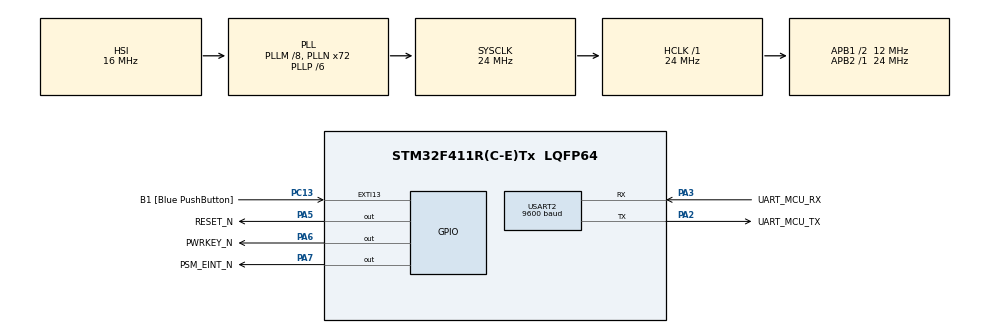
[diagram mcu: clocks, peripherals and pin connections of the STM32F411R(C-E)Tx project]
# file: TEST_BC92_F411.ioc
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Dma.Request0=USART2_TX
Dma.Request1=USART2_RX
Dma.USART2_RX.1.Direction=DMA_PERIPH_TO_MEMORY
Dma.USART2_RX.1.FIFOMode=DMA_FIFOMODE_DISABLE
Dma.USART2_RX.1.Instance=DMA1_Stream5
Dma.USART2_RX.1.MemDataAlignment=DMA_MDATAALIGN_BYTE
Dma.USART2_RX.1.MemInc=DMA_MINC_ENABLE
Dma.USART2_RX.1.Mode=DMA_CIRCULAR
Dma.USART2_RX.1.PeriphDataAlignment=DMA_PDATAALIGN_BYTE
Dma.USART2_RX.1.PeriphInc=DMA_PINC_DISABLE
Dma.USART2_RX.1.Priority=DMA_PRIORITY_LOW
Dma.USART2_TX.0.Direction=DMA_MEMORY_TO_PERIPH
Dma.USART2_TX.0.FIFOMode=DMA_FIFOMODE_DISABLE
Dma.USART2_TX.0.Instance=DMA1_Stream6
Dma.USART2_TX.0.MemDataAlignment=DMA_MDATAALIGN_BYTE
Dma.USART2_TX.0.MemInc=DMA_MINC_ENABLE
Dma.USART2_TX.0.Mode=DMA_NORMAL
Dma.USART2_TX.0.PeriphDataAlignment=DMA_PDATAALIGN_BYTE
Dma.USART2_TX.0.PeriphInc=DMA_PINC_DISABLE
Dma.USART2_TX.0.Priority=DMA_PRIORITY_LOW
FREERTOS.Tasks01=defaultTask,24,128,StartDefaultTask,Default,NULL,Dynamic,NULL,NULL
FREERTOS.configUSE_NEWLIB_REENTRANT=1
Mcu.Family=STM32F4
Mcu.Name=STM32F411R(C-E)Tx
Mcu.Package=LQFP64
NVIC.DMA1_Stream5_IRQn=true\:5\:0\:false\:false\:true\:true\:false\:true
NVIC.DMA1_Stream6_IRQn=true\:5\:0\:false\:false\:true\:true\:false\:true
NVIC.PriorityGroup=NVIC_PRIORITYGROUP_4
NVIC.TIM1_TRG_COM_TIM11_IRQn=true\:15\:0\:false\:false\:true\:false\:false\:true
NVIC.TimeBase=TIM1_TRG_COM_TIM11_IRQn
NVIC.TimeBaseIP=TIM11
NVIC.USART2_IRQn=true\:5\:0\:false\:false\:true\:true\:true\:true
PA13.GPIO_Label=TMS
PA13.Mode=Serial_Wire
PA13.Signal=SYS_JTMS-SWDIO
PA14.GPIO_Label=TCK
PA14.Mode=Serial_Wire
PA14.Signal=SYS_JTCK-SWCLK
PA2.GPIO_Label=UART_MCU_TX
PA2.Mode=Asynchronous
PA2.Signal=USART2_TX
PA3.GPIO_Label=UART_MCU_RX
PA3.Mode=Asynchronous
PA3.Signal=USART2_RX
PA5.GPIO_Label=RESET_N
PA5.PinState=GPIO_PIN_RESET
PA5.Signal=GPIO_Output
PA6.GPIO_Label=PWRKEY_N
PA6.PinState=GPIO_PIN_RESET
PA6.Signal=GPIO_Output
PA7.GPIO_Label=PSM_EINT_N
PA7.Signal=GPIO_Output
PB3.GPIO_Label=SWO
PB3.Signal=SYS_JTDO-SWO
PC13-ANTI_TAMP.GPIO_Label=B1 [Blue PushButton]
PC13-ANTI_TAMP.GPIO_ModeDefaultEXTI=GPIO_MODE_IT_FALLING
PC13-ANTI_TAMP.Signal=GPXTI13
PC14-OSC32_IN.Mode=LSE-External-Oscillator
PC14-OSC32_IN.Signal=RCC_OSC32_IN
PC15-OSC32_OUT.Mode=LSE-External-Oscillator
PC15-OSC32_OUT.Signal=RCC_OSC32_OUT
PH0\ -\ OSC_IN.Mode=HSE-External-Clock-Source
PH0\ -\ OSC_IN.Signal=RCC_OSC_IN
PH1\ -\ OSC_OUT.Mode=HSE-External-Clock-Source
PH1\ -\ OSC_OUT.Signal=RCC_OSC_OUT
ProjectManager.HeapSize=0x200
ProjectManager.StackSize=0x400
ProjectManager.TargetToolchain=STM32CubeIDE
RCC.48MHZClocksFreq_Value=36000000
RCC.AHBFreq_Value=24000000
RCC.APB1CLKDivider=RCC_HCLK_DIV2
RCC.APB1Freq_Value=12000000
RCC.APB1TimFreq_Value=24000000
RCC.APB2Freq_Value=24000000
RCC.APB2TimFreq_Value=24000000
RCC.CortexFreq_Value=24000000
RCC.FLatency-AdvancedSettings=FLASH_LATENCY_0
RCC.HCLKFreq_Value=24000000
RCC.HSE_VALUE=8000000
RCC.HSI_VALUE=16000000
RCC.PLLM=8
RCC.PLLN=72
RCC.PLLP=RCC_PLLP_DIV6
RCC.SYSCLKFreq_VALUE=24000000
RCC.SYSCLKSource=RCC_SYSCLKSOURCE_PLLCLK
RCC.VCOOutputFreq_Value=144000000
USART2.BaudRate=9600
USART2.VirtualMode=VM_ASYNC
VP_FREERTOS_VS_CMSIS_V2.Mode=CMSIS_V2
VP_SYS_VS_tim11.Mode=TIM11
board=NUCLEO-F411RE

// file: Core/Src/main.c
/* USER CODE BEGIN Header */
/**
  ******************************************************************************
  * @file           : main.c
  * @brief          : Main program body
  ******************************************************************************
  * @attention
  *
  * <h2><center>&copy; Copyright (c) 2021 STMicroelectronics.
  * All rights reserved.</center></h2>
  *
  * This software component is licensed by ST under BSD 3-Clause license,
  * the "License"; You may not use this file except in compliance with the
  * License. You may obtain a copy of the License at:
  *                        opensource.org/licenses/BSD-3-Clause
  *
  ******************************************************************************
  */
/* USER CODE END Header */
#include "main.h"
#include "cmsis_os.h"

/* USER CODE BEGIN Includes */
#include "OS_MainTask.h"
/* USER CODE END Includes */

UART_HandleTypeDef huart2;
DMA_HandleTypeDef hdma_usart2_tx;
DMA_HandleTypeDef hdma_usart2_rx;

/* Definitions for defaultTask */
osThreadId_t defaultTaskHandle;
const osThreadAttr_t defaultTask_attributes = {
  .name = "defaultTask",
  .stack_size = 128 * 4,
  .priority = (osPriority_t) osPriorityNormal,
};
/* USER CODE BEGIN PV */

/* Definitions for OS_MainQueue */
osMessageQueueId_t OS_MainQueueHandle;
const osMessageQueueAttr_t OS_MainQueue_attributes = {
  .name = "OS_MainQueue"
};

/* Definitions for OS_MainTask */
osThreadId_t OS_MainTaskHandle;
const osThreadAttr_t OS_MainTask_attributes = {
  .name = "OS_MainTask",
  .priority = (osPriority_t) osPriorityNormal,
  .stack_size = 512 * 4
};

/* USER CODE END PV */

void SystemClock_Config(void);
static void MX_GPIO_Init(void);
static void MX_DMA_Init(void);
static void MX_USART2_UART_Init(void);
void StartDefaultTask(void *argument);

int main(void)
{

  /* MCU Configuration--------------------------------------------------------*/

  /* Reset of all peripherals, Initializes the Flash interface and the Systick. */
  HAL_Init();

  /* Configure the system clock */
  SystemClock_Config();

  /* Initialize all configured peripherals */
  MX_GPIO_Init();
  MX_DMA_Init();
  MX_USART2_UART_Init();

  /* Init scheduler */
  osKernelInitialize();

  /* USER CODE BEGIN RTOS_QUEUES */
  /* add queues, ... */
  OS_MainQueueHandle = osMessageQueueNew (16, sizeof(osQItem_t), &OS_MainQueue_attributes);
  /* USER CODE END RTOS_QUEUES */

  /* Create the thread(s) */
  /* creation of defaultTask */
  defaultTaskHandle = osThreadNew(StartDefaultTask, NULL, &defaultTask_attributes);

  /* USER CODE BEGIN RTOS_THREADS */
  /* add threads, ... */
  if( (OS_MainTaskHandle = osThreadNew(OS_MainTask, NULL, &OS_MainTask_attributes)) )
  {
	  printf("\nOS_MainTaskHandle has been successfully initialized!\n");
	  osKernelStart();
  }
  else
  {
	  printf("\nERROR: OS_MainTask creation failed!\n");
  }
  /* USER CODE END RTOS_THREADS */

  /* Start scheduler */
  osKernelStart();

  /* We should never get here as control is now taken by the scheduler */
  /* Infinite loop */
  while (1)
  {

  }
}

void SystemClock_Config(void)
{
  RCC_OscInitTypeDef RCC_OscInitStruct = {0};
  RCC_ClkInitTypeDef RCC_ClkInitStruct = {0};

  /** Configure the main internal regulator output voltage
  */
  __HAL_RCC_PWR_CLK_ENABLE();
  __HAL_PWR_VOLTAGESCALING_CONFIG(PWR_REGULATOR_VOLTAGE_SCALE1);
  /** Initializes the RCC Oscillators according to the specified parameters
  * in the RCC_OscInitTypeDef structure.
  */
  RCC_OscInitStruct.OscillatorType = RCC_OSCILLATORTYPE_HSI;
  RCC_OscInitStruct.HSIState = RCC_HSI_ON;
  RCC_OscInitStruct.HSICalibrationValue = RCC_HSICALIBRATION_DEFAULT;
  RCC_OscInitStruct.PLL.PLLState = RCC_PLL_ON;
  RCC_OscInitStruct.PLL.PLLSource = RCC_PLLSOURCE_HSI;
  RCC_OscInitStruct.PLL.PLLM = 8;
  RCC_OscInitStruct.PLL.PLLN = 72;
  RCC_OscInitStruct.PLL.PLLP = RCC_PLLP_DIV6;
  RCC_OscInitStruct.PLL.PLLQ = 4;
  if (HAL_RCC_OscConfig(&RCC_OscInitStruct) != HAL_OK)
  {
    Error_Handler();
  }
  /** Initializes the CPU, AHB and APB buses clocks
  */
  RCC_ClkInitStruct.ClockType = RCC_CLOCKTYPE_HCLK|RCC_CLOCKTYPE_SYSCLK
                              |RCC_CLOCKTYPE_PCLK1|RCC_CLOCKTYPE_PCLK2;
  RCC_ClkInitStruct.SYSCLKSource = RCC_SYSCLKSOURCE_PLLCLK;
  RCC_ClkInitStruct.AHBCLKDivider = RCC_SYSCLK_DIV1;
  RCC_ClkInitStruct.APB1CLKDivider = RCC_HCLK_DIV2;
  RCC_ClkInitStruct.APB2CLKDivider = RCC_HCLK_DIV1;

  if (HAL_RCC_ClockConfig(&RCC_ClkInitStruct, FLASH_LATENCY_0) != HAL_OK)
  {
    Error_Handler();
  }
}

static void MX_USART2_UART_Init(void)
{

  huart2.Instance = USART2;
  huart2.Init.BaudRate = 9600;
  huart2.Init.WordLength = UART_WORDLENGTH_8B;
  huart2.Init.StopBits = UART_STOPBITS_1;
  huart2.Init.Parity = UART_PARITY_NONE;
  huart2.Init.Mode = UART_MODE_TX_RX;
  huart2.Init.HwFlowCtl = UART_HWCONTROL_NONE;
  huart2.Init.OverSampling = UART_OVERSAMPLING_16;
  if (HAL_UART_Init(&huart2) != HAL_OK)
  {
    Error_Handler();
  }

}

static void MX_DMA_Init(void)
{

  /* DMA controller clock enable */
  __HAL_RCC_DMA1_CLK_ENABLE();

  /* DMA interrupt init */
  /* DMA1_Stream5_IRQn interrupt configuration */
  HAL_NVIC_SetPriority(DMA1_Stream5_IRQn, 5, 0);
  HAL_NVIC_EnableIRQ(DMA1_Stream5_IRQn);
  /* DMA1_Stream6_IRQn interrupt configuration */
  HAL_NVIC_SetPriority(DMA1_Stream6_IRQn, 5, 0);
  HAL_NVIC_EnableIRQ(DMA1_Stream6_IRQn);

}

static void MX_GPIO_Init(void)
{
  GPIO_InitTypeDef GPIO_InitStruct = {0};

  /* GPIO Ports Clock Enable */
  __HAL_RCC_GPIOC_CLK_ENABLE();
  __HAL_RCC_GPIOH_CLK_ENABLE();
  __HAL_RCC_GPIOA_CLK_ENABLE();
  __HAL_RCC_GPIOB_CLK_ENABLE();

  /*Configure GPIO pin Output Level */
  HAL_GPIO_WritePin(GPIOA, RESET_N_Pin|PWRKEY_N_Pin|PSM_EINT_N_Pin, GPIO_PIN_RESET);

  /*Configure GPIO pin : B1_Pin */
  GPIO_InitStruct.Pin = B1_Pin;
  GPIO_InitStruct.Mode = GPIO_MODE_IT_FALLING;
  GPIO_InitStruct.Pull = GPIO_NOPULL;
  HAL_GPIO_Init(B1_GPIO_Port, &GPIO_InitStruct);

  /*Configure GPIO pins : RESET_N_Pin PWRKEY_N_Pin PSM_EINT_N_Pin */
  GPIO_InitStruct.Pin = RESET_N_Pin|PWRKEY_N_Pin|PSM_EINT_N_Pin;
  GPIO_InitStruct.Mode = GPIO_MODE_OUTPUT_PP;
  GPIO_InitStruct.Pull = GPIO_NOPULL;
  GPIO_InitStruct.Speed = GPIO_SPEED_FREQ_LOW;
  HAL_GPIO_Init(GPIOA, &GPIO_InitStruct);

}

void StartDefaultTask(void *argument)
{
  for(;;)
  {
    osDelay(1);
  }
}

void HAL_TIM_PeriodElapsedCallback(TIM_HandleTypeDef *htim)
{
  if (htim->Instance == TIM11) {
    HAL_IncTick();
  }
}

void Error_Handler(void)
{
  __disable_irq();
  while (1)
  {
  }
}

/************************ (C) COPYRIGHT STMicroelectronics *****END OF FILE****/
